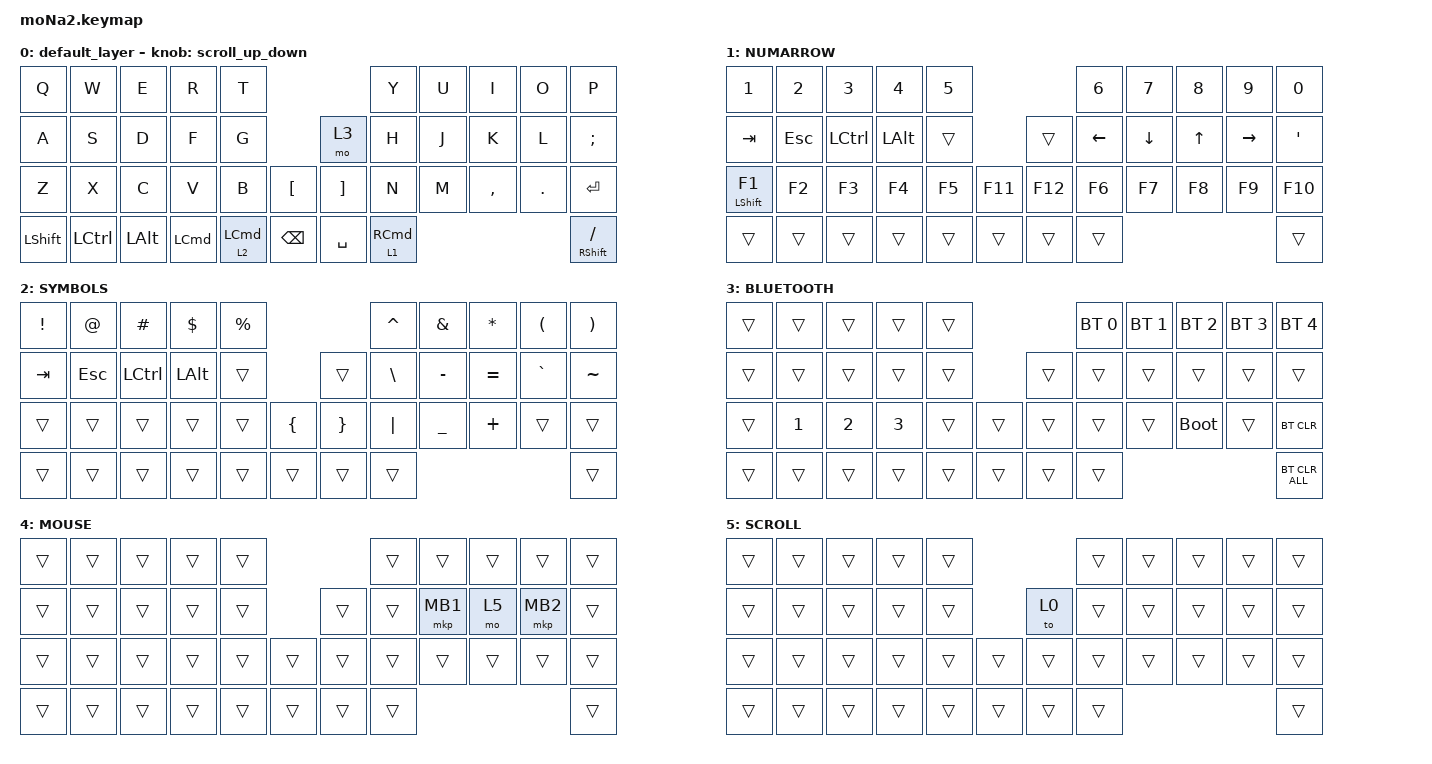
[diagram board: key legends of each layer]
#include <behaviors.dtsi>
#include <dt-bindings/zmk/bt.h>
#include <dt-bindings/zmk/keys.h>
#include <dt-bindings/zmk/pointing.h>

#define ZMK_POINTING_DEFAULT_SCRL_VAL 70
#define MOUSE 4
#define SCROLL 5

&mt {
    flavor = "balanced";
    tapping-term-ms = <210>;
    quick-tap-ms = <0>;
};

&lt { flavor = "hold-preferred"; };

&mkp_input_listener { input-processors = <&zip_temp_layer 4 250>; };

&trackball {
    scroll-layers = <5>;

    // arrows {
    //     layers = <3>;
    //     bindings =
    //         <&kp RIGHT_ARROW>,
    //         <&kp LEFT_ARROW>,
    //         <&kp UP_ARROW>,
    //         <&kp DOWN_ARROW>;
    //     tick = <10>;
    //     wait-ms = <5>;
    //     tap-ms = <5>;
    // };
};

/ {
    combos {
        compatible = "zmk,combos";

        tab {
            bindings = <&kp TAB>;
            key-positions = <11 12>;
        };

        shift_tab {
            bindings = <&kp LS(TAB)>;
            key-positions = <12 13>;
        };    
    };

    macros {
        to_layer_0: to_layer_0 {
            compatible = "zmk,behavior-macro-one-param";
            #binding-cells = <1>;
            bindings = <&to 0 &macro_param_1to1 &kp MACRO_PLACEHOLDER>;
            label = "TO_LAYER_0";
        };

        exit_AML: exit_AML {
            compatible = "zmk,behavior-macro";
            wait-ms = <0>;
            tap-ms = <0>;
            #binding-cells = <0>;
            bindings = <&tog_off MOUSE>;
            label = "exit_AML";
        };

        kp_exit_AML: kp_exit_AML {
            compatible = "zmk,behavior-macro-one-param";
            wait-ms = <0>;
            tap-ms = <0>;
            #binding-cells = <1>;
            bindings = <&macro_param_1to1 &kp MACRO_PLACEHOLDER &exit_AML>;
            label = "KP_exit_AML";
        };
    };

    behaviors {
        lt_to_layer_0: lt_to_layer_0 {
            compatible = "zmk,behavior-hold-tap";
            label = "LAYER_TAP_TO_0";
            bindings = <&mo>, <&to_layer_0>;

            #binding-cells = <2>;
            tapping-term-ms = <200>;
        };

        scroll_up_down: behavior_sensor_rotate_mouse_wheel_up_down {
            compatible = "zmk,behavior-sensor-rotate";
            #sensor-binding-cells = <0>;
            bindings = <&msc SCRL_DOWN>, <&msc SCRL_UP>;

            tap-ms = <20>;
        };

        tog_off: toggle_layer_off {
            compatible = "zmk,behavior-toggle-layer";
            #binding-cells = <1>;
            display-name = "Toggle Layer Off";
            toggle-mode = "off";
        };

        mt_exit_AML_on_tap: mt_exit_AML_on_tap {
            compatible = "zmk,behavior-hold-tap";
            label = "MT_exit_AML_ON_TAP";
            bindings = <&kp>, <&kp_exit_AML>;

            #binding-cells = <2>;
            tapping-term-ms = <200>;
            flavor = "balanced";
            quick-tap-ms = <200>;
        };

        cmd_eikana: cmd_eikana {
            compatible = "zmk,behavior-hold-tap";
            #binding-cells = <2>;
            flavor = "tap-unless-interrupted";
            tapping-term-ms = <200>;
            bindings = <&kp>, <&kp>;
        };
    };

    keymap {
        compatible = "zmk,keymap";

        default_layer {
            bindings = <
&kp Q           &kp W             &kp E         &kp R             &kp T                                                        &kp Y                &kp U  &kp I      &kp O    &kp P
&kp A           &kp S             &kp D         &kp F             &kp G                                     &mo 3              &kp H                &kp J  &kp K      &kp L    &kp SEMICOLON
&kp Z           &kp X             &kp C         &kp V             &kp B               &kp LEFT_BRACKET      &kp RIGHT_BRACKET  &kp N                &kp M  &kp COMMA  &kp DOT  &kp ENTER
&kp LEFT_SHIFT  &kp LEFT_CONTROL  &kp LEFT_ALT  &kp LEFT_COMMAND  &lt 2 LEFT_COMMAND  &kp BACKSPACE         &kp SPACE          &lt 1 RIGHT_COMMAND                             &mt_exit_AML_on_tap RIGHT_SHIFT SLASH
            >;

            sensor-bindings = <&scroll_up_down>;
        };

        NUMARROW {
            bindings = <
&kp NUMBER_1       &kp NUMBER_2  &kp NUMBER_3  &kp NUMBER_4  &kp NUMBER_5                        &kp NUMBER_6  &kp NUMBER_7  &kp NUMBER_8  &kp NUMBER_9  &kp NUMBER_0
&kp TAB            &kp ESCAPE    &kp LCTRL     &kp LEFT_ALT  &trans                     &trans   &kp LEFT      &kp DOWN      &kp UP        &kp RIGHT     &kp SINGLE_QUOTE
&mt LEFT_SHIFT F1  &kp F2        &kp F3        &kp F4        &kp F5        &kp F11      &kp F12  &kp F6        &kp F7        &kp F8        &kp F9        &kp F10
&trans             &trans        &trans        &trans        &trans        &trans       &trans   &trans                                                  &trans
            >;
        };

        SYMBOLS {
            bindings = <
&kp EXCLAMATION  &kp AT_SIGN  &kp HASH   &kp DOLLAR    &kp PERCENT                                       &kp CARET      &kp AMPERSAND   &kp ASTERISK  &kp LEFT_PARENTHESIS  &kp RIGHT_PARENTHESIS
&kp TAB          &kp ESCAPE   &kp LCTRL  &kp LEFT_ALT  &trans                           &trans           &kp BACKSLASH  &kp MINUS       &kp EQUAL     &kp GRAVE             &kp TILDE
&trans           &trans       &trans     &trans        &trans       &kp LEFT_BRACE      &kp RIGHT_BRACE  &kp PIPE       &kp UNDERSCORE  &kp PLUS      &trans                &trans
&trans           &trans       &trans     &trans        &trans       &trans              &trans           &trans                                                             &trans
            >;
        };

        BLUETOOTH {
            bindings = <
&trans  &trans        &trans        &trans        &trans                           &bt BT_SEL 0  &bt BT_SEL 1  &bt BT_SEL 2  &bt BT_SEL 3  &bt BT_SEL 4
&trans  &trans        &trans        &trans        &trans              &trans       &trans        &trans        &trans        &trans        &trans
&trans  &kp NUMBER_1  &kp NUMBER_2  &kp NUMBER_3  &trans  &trans      &trans       &trans        &trans        &bootloader   &trans        &bt BT_CLR
&trans  &trans        &trans        &trans        &trans  &trans      &trans       &trans                                                  &bt BT_CLR_ALL
            >;
        };

        MOUSE {
            bindings = <
&trans  &trans  &trans  &trans  &trans                      &trans  &trans    &trans  &trans    &trans
&trans  &trans  &trans  &trans  &trans              &trans  &trans  &mkp MB1  &mo 5   &mkp MB2  &trans
&trans  &trans  &trans  &trans  &trans  &trans      &trans  &trans  &trans    &trans  &trans    &trans
&trans  &trans  &trans  &trans  &trans  &trans      &trans  &trans                              &trans
            >;
        };

        SCROLL {
            bindings = <
&trans  &trans  &trans  &trans  &trans                      &trans  &trans  &trans  &trans  &trans
&trans  &trans  &trans  &trans  &trans              &to 0   &trans  &trans  &trans  &trans  &trans
&trans  &trans  &trans  &trans  &trans  &trans      &trans  &trans  &trans  &trans  &trans  &trans
&trans  &trans  &trans  &trans  &trans  &trans      &trans  &trans                          &trans
            >;
        };
    };
};
